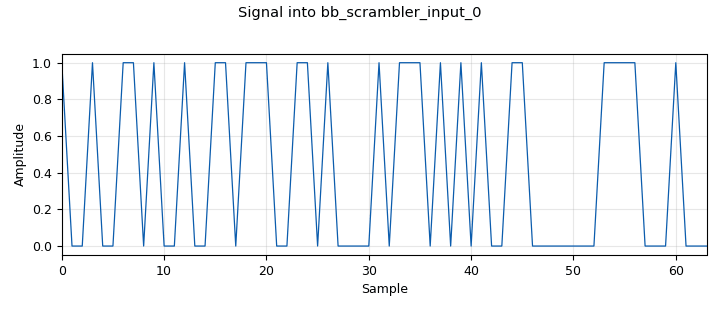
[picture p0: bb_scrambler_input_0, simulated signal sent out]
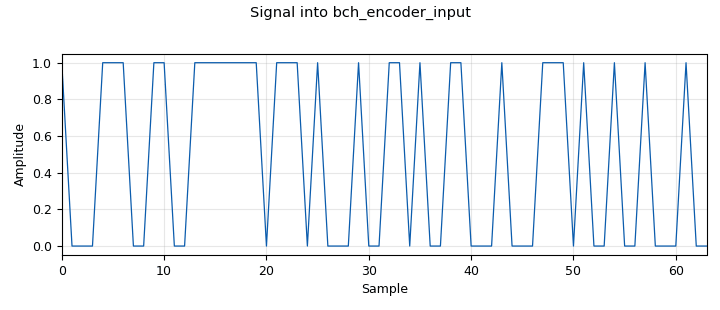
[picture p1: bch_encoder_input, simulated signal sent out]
options:
  parameters:
    category: Custom
    generate_options: no_gui
    id: dvbs2_encoder
    output_language: python
    run_options: run
  states: {}

blocks:
- name: center_freq
  id: variable
  parameters:
    value: 1280e6
  states: {}
- name: gain
  id: variable
  parameters:
    value: '1'
  states: {}
- name: noise
  id: variable
  parameters:
    value: '0'
  states: {}
- name: physical_layer_frame_size
  id: variable
  parameters:
    value: '22194'
  states: {}
- name: physical_layer_gold_code
  id: variable
  parameters:
    value: '0'
  states: {}
- name: physical_layer_header_length
  id: variable
  parameters:
    value: '90'
  states: {}
- name: rolloff
  id: variable
  parameters:
    value: '0.2'
  states: {}
- name: samp_rate
  id: variable
  parameters:
    value: symbol_rate * 2
  states: {}
- name: symbol_rate
  id: variable
  parameters:
    value: 10e6
  states: {}
- name: taps
  id: variable
  parameters:
    value: '100'
  states: {}
- name: analog_agc_xx_0
  id: analog_agc_xx
  parameters:
    gain: '1.0'
    max_gain: '8192'
    rate: '1e-4'
    reference: '1.0'
    type: complex
  states: {state: disabled}
- name: analog_noise_source_x_1
  id: analog_noise_source_x
  parameters:
    amp: noise
    noise_type: analog.GR_GAUSSIAN
    seed: '0'
    type: complex
  states: {state: disabled}
- name: analog_random_source_x_0
  id: analog_random_source_x
  parameters:
    max: '255'
    min: '0'
    num_samps: 3072//8
    repeat: 'False'
    type: byte
  states: {}
- name: bb_scrambler_input_0
  id: blocks_file_sink
  parameters:
    file: bb_scrambler_input.bin
    type: byte
  states: {}
- name: bch_encoder_input
  id: blocks_file_sink
  parameters:
    file: bb_scrambler.bin
    type: byte
  states: {}
- name: bit_interleaver_input
  id: blocks_file_sink
  parameters:
    file: bit_interleaver_input.bin
    type: byte
  states: {}
- name: bit_interleaver_output
  id: blocks_file_sink
  parameters:
    file: bit_interleaver_output.bin
    type: byte
  states: {}
- name: bit_interleaver_output_packed
  id: blocks_file_sink
  parameters:
    file: bit_interleaver_output_packed.bin
    type: byte
  states: {}
- name: bit_interleaver_output_packed_0
  id: blocks_file_sink
  parameters:
    file: bb_scrambler_output_packed.bin
    type: byte
  states: {}
- name: bit_mapper_complex_to_float
  id: blocks_complex_to_float
  parameters: {}
  states: {}
- name: bit_mapper_output_fixed
  id: blocks_file_sink
  parameters:
    file: bit_mapper_output_fixed.bin
    type: short
  states: {}
- name: bit_mapper_output_float
  id: blocks_file_sink
  parameters:
    file: bit_mapper_output_float.bin
    type: complex
  states: {}
- name: blocks_add_xx_0
  id: blocks_add_xx
  parameters:
    type: complex
  states: {state: disabled}
- name: blocks_add_xx_2
  id: blocks_add_xx
  parameters:
    type: complex
  states: {state: disabled}
- name: blocks_complex_to_mag_0
  id: blocks_complex_to_mag
  parameters: {}
  states: {state: disabled}
- name: blocks_complex_to_mag_0_0
  id: blocks_complex_to_mag
  parameters: {}
  states: {state: disabled}
- name: blocks_conjugate_cc_0
  id: blocks_conjugate_cc
  parameters: {}
  states: {state: disabled}
- name: blocks_delay_0
  id: blocks_delay
  parameters:
    delay: '1'
    type: complex
  states: {state: disabled}
- name: blocks_file_sink_1
  id: blocks_file_sink
  parameters:
    file: output.bin
    type: float
  states: {state: disabled}
- name: blocks_float_to_short_0
  id: blocks_float_to_short
  parameters:
    scale: '32768'
  states: {}
- name: blocks_float_to_short_0_0
  id: blocks_float_to_short
  parameters:
    scale: '32768'
  states: {}
- name: blocks_float_to_short_0_0_0
  id: blocks_float_to_short
  parameters:
    scale: '32768'
  states: {}
- name: blocks_float_to_short_0_0_0_0
  id: blocks_float_to_short
  parameters:
    scale: '32768'
  states: {}
- name: blocks_float_to_short_0_0_0_0_0
  id: blocks_float_to_short
  parameters:
    scale: '32768'
  states: {}
- name: blocks_float_to_short_0_0_0_1
  id: blocks_float_to_short
  parameters:
    scale: '32768'
  states: {}
- name: blocks_float_to_short_0_0_1
  id: blocks_float_to_short
  parameters:
    scale: '32768'
  states: {}
- name: blocks_float_to_short_0_0_2
  id: blocks_float_to_short
  parameters:
    scale: '32768'
  states: {}
- name: blocks_float_to_short_0_1
  id: blocks_float_to_short
  parameters:
    scale: '32768'
  states: {}
- name: blocks_float_to_short_0_1_0
  id: blocks_float_to_short
  parameters:
    scale: '32768'
  states: {}
- name: blocks_float_to_short_0_1_0_0
  id: blocks_float_to_short
  parameters:
    scale: '32768'
  states: {}
- name: blocks_float_to_short_0_1_1
  id: blocks_float_to_short
  parameters:
    scale: '32768'
  states: {}
- name: blocks_float_to_short_0_2
  id: blocks_float_to_short
  parameters:
    scale: '32768'
  states: {}
- name: blocks_float_to_short_0_3
  id: blocks_float_to_short
  parameters:
    scale: '32768'
  states: {}
- name: blocks_max_xx_0
  id: blocks_max_xx
  parameters:
    num_inputs: '2'
    type: float
  states: {state: disabled}
- name: blocks_multiply_const_vxx_0
  id: blocks_multiply_const_vxx
  parameters:
    const: gain
    type: complex
  states: {state: disabled}
- name: blocks_multiply_xx_0
  id: blocks_multiply_xx
  parameters:
    type: complex
  states: {state: disabled}
- name: blocks_repack_bits_bb_0
  id: blocks_repack_bits_bb
  parameters:
    endianness: gr.GR_MSB_FIRST
    k: '4'
    l: '8'
  states: {}
- name: blocks_repack_bits_bb_0_0
  id: blocks_repack_bits_bb
  parameters:
    endianness: gr.GR_MSB_FIRST
    k: '1'
    l: '8'
  states: {}
- name: blocks_repack_bits_bb_1
  id: blocks_repack_bits_bb
  parameters:
    endianness: gr.GR_LSB_FIRST
    k: '8'
    l: '1'
  states: {}
- name: blocks_stream_mux_0
  id: blocks_stream_mux
  parameters:
    lengths: (1, 1)
    type: short
  states: {}
- name: blocks_stream_mux_0_0
  id: blocks_stream_mux
  parameters:
    lengths: (1, 1)
    type: short
  states: {}
- name: blocks_stream_mux_0_0_0
  id: blocks_stream_mux
  parameters:
    lengths: (1, 1)
    type: short
  states: {}
- name: blocks_stream_mux_0_0_0_0
  id: blocks_stream_mux
  parameters:
    lengths: (1, 1)
    type: short
  states: {}
- name: blocks_stream_mux_0_0_1
  id: blocks_stream_mux
  parameters:
    lengths: (1, 1)
    type: short
  states: {}
- name: blocks_stream_mux_0_1
  id: blocks_stream_mux
  parameters:
    lengths: (1, 1)
    type: short
  states: {}
- name: blocks_stream_mux_0_2
  id: blocks_stream_mux
  parameters:
    lengths: (1, 1)
    type: short
  states: {}
- name: blocks_sub_xx_0
  id: blocks_sub_xx
  parameters:
    type: complex
  states: {state: disabled}
- name: blocks_throttle_0
  id: blocks_throttle
  parameters:
    samples_per_second: samp_rate/10
    type: float
  states: {state: disabled}
- name: digital_costas_loop_cc_0
  id: digital_costas_loop_cc
  parameters:
    order: '4'
    w: math.pi/100.0
  states: {state: disabled}
- name: digital_pfb_clock_sync_xxx_0
  id: digital_pfb_clock_sync_xxx
  parameters:
    filter_size: '32'
    init_phase: '16'
    loop_bw: math.pi/100.0
    max_dev: '1.5'
    osps: '1'
    sps: '2'
    taps: firdes.root_raised_cosine(2*32, 32, 1.0/float(2), 0.35, 11*2*32)
    type: ccf
  states: {state: disabled}
- name: dtv_dvb_bbscrambler_bb_0
  id: dtv_dvb_bbscrambler_bb
  parameters:
    framesize2: FECFRAME_SHORT
    rate5: C1_4
    standard: STANDARD_DVBS2
  states: {}
- name: dtv_dvb_bch_bb_0
  id: dtv_dvb_bch_bb
  parameters:
    framesize2: FECFRAME_SHORT
    rate5: C1_4
    standard: STANDARD_DVBS2
  states: {}
- name: dtv_dvb_ldpc_bb_0
  id: dtv_dvb_ldpc_bb
  parameters:
    constellation: MOD_OTHER
    framesize2: FECFRAME_SHORT
    rate5: C1_4
    standard: STANDARD_DVBS2
  states: {}
- name: dtv_dvbs2_interleaver_bb_0
  id: dtv_dvbs2_interleaver_bb
  parameters:
    constellation: MOD_QPSK
    framesize: FECFRAME_SHORT
    rate3: C1_4
  states: {}
- name: dtv_dvbs2_modulator_bc_0
  id: dtv_dvbs2_modulator_bc
  parameters:
    constellation: MOD_QPSK
    framesize: FECFRAME_SHORT
    interpolation: INTERPOLATION_OFF
    rate3: C1_4
  states: {}
- name: dtv_dvbs2_physical_cc_pilots_off
  id: dtv_dvbs2_physical_cc
  parameters:
    constellation: MOD_QPSK
    framesize: FECFRAME_SHORT
    goldcode: physical_layer_gold_code
    pilots: PILOTS_OFF
    rate3: C1_4
  states: {}
- name: dtv_dvbs2_physical_cc_with_pilots
  id: dtv_dvbs2_physical_cc
  parameters:
    constellation: MOD_QPSK
    framesize: FECFRAME_SHORT
    goldcode: physical_layer_gold_code
    pilots: PILOTS_ON
    rate3: C1_4
  states: {}
- name: fft_filter_xxx_0
  id: fft_filter_xxx
  parameters:
    decim: '1'
    taps: firdes.root_raised_cosine(1.0, samp_rate, samp_rate/2, rolloff, taps)
    type: ccc
  states: {state: disabled}
- name: fir_filter_xxx_0
  id: fir_filter_xxx
  parameters:
    decim: '1'
    taps: numpy.conj([0,]*(89-25) + [   0.00000 - 1.00000j,   0.00000 - 1.00000j,   0.00000 + 1.00000j,   0.00000 - 1.00000j,   0.00000 + 1.00000j,   0.00000 + 1.00000j,   0.00000 - 1.00000j,   0.00000 + 1.00000j,   0.00000 + 1.00000j,   0.00000 - 1.00000j,   0.00000 - 1.00000j,   0.00000 + 1.00000j,   0.00000 - 1.00000j,   0.00000 - 1.00000j,   0.00000 - 1.00000j,   0.00000 + 1.00000j,   0.00000 - 1.00000j,   0.00000 - 1.00000j,   0.00000 - 1.00000j,   0.00000 - 1.00000j,   0.00000 + 1.00000j,   0.00000 + 1.00000j,   0.00000 + 1.00000j,   0.00000 + 1.00000j,   0.00000 + 0.00000j])
    type: ccc
  states: {state: disabled}
- name: fir_filter_xxx_0_0
  id: fir_filter_xxx
  parameters:
    decim: '1'
    taps: numpy.conj([0.00000 + 1.00000j,   0.00000 - 1.00000j,   0.00000 - 1.00000j,   0.00000 + 1.00000j,   0.00000 - 1.00000j,   0.00000 + 1.00000j,   0.00000 - 1.00000j,   0.00000 - 1.00000j,   0.00000 + 1.00000j,   0.00000 + 1.00000j,   0.00000 + 1.00000j,   0.00000 - 1.00000j,   0.00000 + 1.00000j,   0.00000 + 1.00000j,   0.00000 - 1.00000j,   0.00000 - 1.00000j,   0.00000 + 1.00000j,   0.00000 + 1.00000j,   0.00000 - 1.00000j,   0.00000 + 1.00000j,   0.00000 + 1.00000j,   0.00000 - 1.00000j,   0.00000 + 1.00000j,   0.00000 + 1.00000j,   0.00000 + 1.00000j,   0.00000 + 1.00000j,   0.00000 + 1.00000j,   0.00000 - 1.00000j,   0.00000 + 1.00000j,   0.00000 - 1.00000j,   0.00000 + 1.00000j,   0.00000 - 1.00000j]  + [0,]*(89-32))
    type: ccc
  states: {state: disabled}
- name: import_0
  id: import
  parameters:
    imports: import numpy
  states: {}
- name: import_0_0
  id: import
  parameters:
    imports: import math
  states: {}
- name: input_sample_length
  id: parameter
  parameters:
    label: input_sample_length
    short_id: l
    type: intx
    value: '374'
  states: {}
- name: keep_plframe_header_pilots_off
  id: blocks_keep_m_in_n
  parameters:
    m: physical_layer_header_length
    n: physical_layer_frame_size
    offset: '0'
    type: complex
  states: {}
- name: keep_plframe_header_pilots_on
  id: blocks_keep_m_in_n
  parameters:
    m: physical_layer_header_length
    n: physical_layer_frame_size
    offset: '0'
    type: complex
  states: {}
- name: keep_plframe_payload_pilots_off
  id: blocks_keep_m_in_n
  parameters:
    m: physical_layer_frame_size - physical_layer_header_length
    n: physical_layer_frame_size
    offset: '0'
    type: complex
  states: {}
- name: keep_plframe_payload_pilots_on
  id: blocks_keep_m_in_n
  parameters:
    m: physical_layer_frame_size - physical_layer_header_length
    n: physical_layer_frame_size
    offset: '0'
    type: complex
  states: {}
- name: ldpc_encoder_input
  id: blocks_file_sink
  parameters:
    file: ldpc_encoder_input.bin
    type: byte
  states: {}
- name: organize
  id: blocks_multiply_const_vxx
  parameters:
    const: '1'
    type: complex
  states: {}
- name: pl_complex_to_float
  id: blocks_complex_to_float
  parameters: {}
  states: {}
- name: pl_complex_to_float_0
  id: blocks_complex_to_float
  parameters: {}
  states: {}
- name: pl_complex_to_float_0_0
  id: blocks_complex_to_float
  parameters: {}
  states: {}
- name: pl_complex_to_float_0_0_0
  id: blocks_complex_to_float
  parameters: {}
  states: {}
- name: pl_complex_to_float_0_1
  id: blocks_complex_to_float
  parameters: {}
  states: {}
- name: pl_complex_to_float_1
  id: blocks_complex_to_float
  parameters: {}
  states: {}
- name: plframe_header_pilots_off_fixed_point
  id: blocks_file_sink
  parameters:
    file: plframe_header_pilots_off_fixed_point.bin
    type: short
  states: {}
- name: plframe_header_pilots_off_float
  id: blocks_file_sink
  parameters:
    file: plframe_header_pilots_off_float.bin
    type: complex
  states: {}
- name: plframe_header_pilots_on_fixed_point
  id: blocks_file_sink
  parameters:
    file: plframe_header_pilots_on_fixed_point.bin
    type: short
  states: {}
- name: plframe_header_pilots_on_float
  id: blocks_file_sink
  parameters:
    file: plframe_header_pilots_on_float.bin
    type: complex
  states: {}
- name: plframe_payload_pilots_off_fixed_point
  id: blocks_file_sink
  parameters:
    file: plframe_payload_pilots_off_fixed_point.bin
    type: short
  states: {}
- name: plframe_payload_pilots_off_float
  id: blocks_file_sink
  parameters:
    file: plframe_payload_pilots_off_float.bin
    type: complex
  states: {}
- name: plframe_payload_pilots_on_fixed_point
  id: blocks_file_sink
  parameters:
    file: plframe_payload_pilots_on_fixed_point.bin
    type: short
  states: {}
- name: plframe_payload_pilots_on_float
  id: blocks_file_sink
  parameters:
    file: plframe_payload_pilots_on_float.bin
    type: complex
  states: {}
- name: plframe_pilots_off_fixed_point
  id: blocks_file_sink
  parameters:
    file: plframe_pilots_off_fixed_point.bin
    type: short
  states: {}
- name: plframe_pilots_off_float
  id: blocks_file_sink
  parameters:
    file: plframe_pilots_off_float.bin
    type: complex
  states: {}
- name: plframe_pilots_on_fixed_point
  id: blocks_file_sink
  parameters:
    file: plframe_pilots_on_fixed_point.bin
    type: short
  states: {}
- name: plframe_pilots_on_float
  id: blocks_file_sink
  parameters:
    file: plframe_pilots_on_float.bin
    type: complex
  states: {}
- name: qtgui_const_sink_x_0
  id: qtgui_const_sink_x
  parameters:
    size: '1024'
    type: complex
  states: {state: disabled}
- name: qtgui_time_sink_x_0
  id: qtgui_time_sink_x
  parameters:
    ctrlpanel: 'True'
    grid: 'True'
    label1: ''
    size: '1024'
    srate: samp_rate*10
    tr_delay: 2e3
    tr_level: '200'
    tr_mode: qtgui.TRIG_MODE_NORM
    type: float
  states: {state: disabled}
- name: undo_bit_stuffing_pilots_off
  id: blocks_keep_m_in_n
  parameters:
    m: '1'
    n: '2'
    offset: '0'
    type: complex
  states: {}
- name: undo_bit_stuffing_pilots_on
  id: blocks_keep_m_in_n
  parameters:
    m: '1'
    n: '2'
    offset: '0'
    type: complex
  states: {}

connections:
- [analog_agc_xx_0, '0', digital_pfb_clock_sync_xxx_0, '0']
- [analog_noise_source_x_1, '0', blocks_add_xx_2, '1']
- [analog_random_source_x_0, '0', blocks_repack_bits_bb_1, '0']
- [bit_mapper_complex_to_float, '0', blocks_float_to_short_0_0_2, '0']
- [bit_mapper_complex_to_float, '1', blocks_float_to_short_0_3, '0']
- [blocks_add_xx_0, '0', blocks_complex_to_mag_0, '0']
- [blocks_add_xx_2, '0', analog_agc_xx_0, '0']
- [blocks_complex_to_mag_0, '0', blocks_max_xx_0, '1']
- [blocks_complex_to_mag_0_0, '0', blocks_max_xx_0, '0']
- [blocks_conjugate_cc_0, '0', blocks_multiply_xx_0, '1']
- [blocks_delay_0, '0', blocks_multiply_xx_0, '0']
- [blocks_float_to_short_0, '0', blocks_stream_mux_0, '1']
- [blocks_float_to_short_0_0, '0', blocks_stream_mux_0, '0']
- [blocks_float_to_short_0_0_0, '0', blocks_stream_mux_0_0, '0']
- [blocks_float_to_short_0_0_0_0, '0', blocks_stream_mux_0_0_0, '0']
- [blocks_float_to_short_0_0_0_0_0, '0', blocks_stream_mux_0_0_0_0, '0']
- [blocks_float_to_short_0_0_0_1, '0', blocks_stream_mux_0_0_1, '0']
- [blocks_float_to_short_0_0_1, '0', blocks_stream_mux_0_1, '0']
- [blocks_float_to_short_0_0_2, '0', blocks_stream_mux_0_2, '0']
- [blocks_float_to_short_0_1, '0', blocks_stream_mux_0_0, '1']
- [blocks_float_to_short_0_1_0, '0', blocks_stream_mux_0_0_0, '1']
- [blocks_float_to_short_0_1_0_0, '0', blocks_stream_mux_0_0_0_0, '1']
- [blocks_float_to_short_0_1_1, '0', blocks_stream_mux_0_0_1, '1']
- [blocks_float_to_short_0_2, '0', blocks_stream_mux_0_1, '1']
- [blocks_float_to_short_0_3, '0', blocks_stream_mux_0_2, '1']
- [blocks_max_xx_0, '0', blocks_throttle_0, '0']
- [blocks_multiply_const_vxx_0, '0', fft_filter_xxx_0, '0']
- [blocks_multiply_xx_0, '0', fir_filter_xxx_0, '0']
- [blocks_multiply_xx_0, '0', fir_filter_xxx_0_0, '0']
- [blocks_repack_bits_bb_0, '0', bit_interleaver_output_packed, '0']
- [blocks_repack_bits_bb_0_0, '0', bit_interleaver_output_packed_0, '0']
- [blocks_repack_bits_bb_1, '0', bb_scrambler_input_0, '0']
- [blocks_repack_bits_bb_1, '0', dtv_dvb_bbscrambler_bb_0, '0']
- [blocks_stream_mux_0, '0', plframe_pilots_on_fixed_point, '0']
- [blocks_stream_mux_0_0, '0', plframe_payload_pilots_on_fixed_point, '0']
- [blocks_stream_mux_0_0_0, '0', plframe_header_pilots_on_fixed_point, '0']
- [blocks_stream_mux_0_0_0_0, '0', plframe_header_pilots_off_fixed_point, '0']
- [blocks_stream_mux_0_0_1, '0', plframe_payload_pilots_off_fixed_point, '0']
- [blocks_stream_mux_0_1, '0', plframe_pilots_off_fixed_point, '0']
- [blocks_stream_mux_0_2, '0', bit_mapper_output_fixed, '0']
- [blocks_sub_xx_0, '0', blocks_complex_to_mag_0_0, '0']
- [blocks_throttle_0, '0', blocks_file_sink_1, '0']
- [blocks_throttle_0, '0', qtgui_time_sink_x_0, '0']
- [digital_costas_loop_cc_0, '0', blocks_conjugate_cc_0, '0']
- [digital_costas_loop_cc_0, '0', blocks_delay_0, '0']
- [digital_pfb_clock_sync_xxx_0, '0', digital_costas_loop_cc_0, '0']
- [digital_pfb_clock_sync_xxx_0, '0', qtgui_const_sink_x_0, '0']
- [dtv_dvb_bbscrambler_bb_0, '0', bch_encoder_input, '0']
- [dtv_dvb_bbscrambler_bb_0, '0', blocks_repack_bits_bb_0_0, '0']
- [dtv_dvb_bbscrambler_bb_0, '0', dtv_dvb_bch_bb_0, '0']
- [dtv_dvb_bch_bb_0, '0', dtv_dvb_ldpc_bb_0, '0']
- [dtv_dvb_bch_bb_0, '0', ldpc_encoder_input, '0']
- [dtv_dvb_ldpc_bb_0, '0', bit_interleaver_input, '0']
- [dtv_dvb_ldpc_bb_0, '0', dtv_dvbs2_interleaver_bb_0, '0']
- [dtv_dvbs2_interleaver_bb_0, '0', bit_interleaver_output, '0']
- [dtv_dvbs2_interleaver_bb_0, '0', blocks_repack_bits_bb_0, '0']
- [dtv_dvbs2_interleaver_bb_0, '0', dtv_dvbs2_modulator_bc_0, '0']
- [dtv_dvbs2_modulator_bc_0, '0', bit_mapper_complex_to_float, '0']
- [dtv_dvbs2_modulator_bc_0, '0', bit_mapper_output_float, '0']
- [dtv_dvbs2_modulator_bc_0, '0', organize, '0']
- [dtv_dvbs2_physical_cc_pilots_off, '0', undo_bit_stuffing_pilots_off, '0']
- [dtv_dvbs2_physical_cc_with_pilots, '0', blocks_multiply_const_vxx_0, '0']
- [dtv_dvbs2_physical_cc_with_pilots, '0', undo_bit_stuffing_pilots_on, '0']
- [fft_filter_xxx_0, '0', blocks_add_xx_2, '0']
- [fir_filter_xxx_0, '0', blocks_add_xx_0, '0']
- [fir_filter_xxx_0, '0', blocks_sub_xx_0, '0']
- [fir_filter_xxx_0_0, '0', blocks_add_xx_0, '1']
- [fir_filter_xxx_0_0, '0', blocks_sub_xx_0, '1']
- [keep_plframe_header_pilots_off, '0', pl_complex_to_float_0_0_0, '0']
- [keep_plframe_header_pilots_off, '0', plframe_header_pilots_off_float, '0']
- [keep_plframe_header_pilots_on, '0', pl_complex_to_float_0_0, '0']
- [keep_plframe_header_pilots_on, '0', plframe_header_pilots_on_float, '0']
- [keep_plframe_payload_pilots_off, '0', pl_complex_to_float_0_1, '0']
- [keep_plframe_payload_pilots_off, '0', plframe_payload_pilots_off_float, '0']
- [keep_plframe_payload_pilots_on, '0', pl_complex_to_float_0, '0']
- [keep_plframe_payload_pilots_on, '0', plframe_payload_pilots_on_float, '0']
- [organize, '0', dtv_dvbs2_physical_cc_pilots_off, '0']
- [organize, '0', dtv_dvbs2_physical_cc_with_pilots, '0']
- [pl_complex_to_float, '0', blocks_float_to_short_0_0, '0']
- [pl_complex_to_float, '1', blocks_float_to_short_0, '0']
- [pl_complex_to_float_0, '0', blocks_float_to_short_0_0_0, '0']
- [pl_complex_to_float_0, '1', blocks_float_to_short_0_1, '0']
- [pl_complex_to_float_0_0, '0', blocks_float_to_short_0_0_0_0, '0']
- [pl_complex_to_float_0_0, '1', blocks_float_to_short_0_1_0, '0']
- [pl_complex_to_float_0_0_0, '0', blocks_float_to_short_0_0_0_0_0, '0']
- [pl_complex_to_float_0_0_0, '1', blocks_float_to_short_0_1_0_0, '0']
- [pl_complex_to_float_0_1, '0', blocks_float_to_short_0_0_0_1, '0']
- [pl_complex_to_float_0_1, '1', blocks_float_to_short_0_1_1, '0']
- [pl_complex_to_float_1, '0', blocks_float_to_short_0_0_1, '0']
- [pl_complex_to_float_1, '1', blocks_float_to_short_0_2, '0']
- [undo_bit_stuffing_pilots_off, '0', keep_plframe_header_pilots_off, '0']
- [undo_bit_stuffing_pilots_off, '0', keep_plframe_payload_pilots_off, '0']
- [undo_bit_stuffing_pilots_off, '0', pl_complex_to_float_1, '0']
- [undo_bit_stuffing_pilots_off, '0', plframe_pilots_off_float, '0']
- [undo_bit_stuffing_pilots_on, '0', keep_plframe_header_pilots_on, '0']
- [undo_bit_stuffing_pilots_on, '0', keep_plframe_payload_pilots_on, '0']
- [undo_bit_stuffing_pilots_on, '0', pl_complex_to_float, '0']
- [undo_bit_stuffing_pilots_on, '0', plframe_pilots_on_float, '0']

metadata:
  file_format: 1
